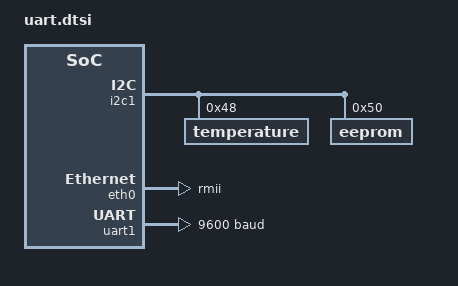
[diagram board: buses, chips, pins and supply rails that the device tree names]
/* CUSTOMER uart.dtsi */
&node1 { property1 = <1>; };
&node2 { property2 = <2>; };
&node3 { property3 = <3>; };
&node4 { property4 = <4>; };
&node5 { property5 = <5>; };
&node6 { property6 = <6>; };
&node7 { property7 = <7>; };
&node8 { property8 = <8>; };
&node9 { property9 = <9>; };
&node10 { property10 = <10>; };
&node11 { property11 = <11>; };
&node12 { property12 = <12>; };
&node13 { property13 = <13>; };
&node14 { property14 = <14>; };
&node15 { property15 = <15>; };
&node16 { property16 = <16>; };
&node17 { property17 = <17>; };
&node18 { property18 = <18>; };
&node19 { property19 = <19>; };
&node20 { property20 = <20>; };
&node21 { property21 = <21>; };
&node22 { property22 = <22>; };
&node23 { property23 = <23>; };
&node24 { property24 = <24>; };
&node25 { property25 = <25>; };
&node26 { property26 = <26>; };
&node27 { property27 = <27>; };
&node28 { property28 = <28>; };
&node29 { property29 = <29>; };
&node30 { property30 = <30>; };
&node31 { property31 = <31>; };
&node32 { property32 = <32>; };
&node33 { property33 = <33>; };
&node34 { property34 = <34>; };
&node35 { property35 = <35>; };
&node36 { property36 = <36>; };
&node37 { property37 = <37>; };
&node38 { property38 = <38>; };
&node39 { property39 = <39>; };
&node40 { property40 = <40>; };
&node41 { property41 = <41>; };
&node42 { property42 = <42>; };
&node43 { property43 = <43>; };
&node44 { property44 = <44>; };
&node45 { property45 = <45>; };
&node46 { property46 = <46>; };
&node47 { property47 = <47>; };
&node48 { property48 = <48>; };
&node49 { property49 = <49>; };
&node50 { property50 = <50>; };
&node51 { property51 = <51>; };
&node52 { property52 = <52>; };
&node53 { property53 = <53>; };
&node54 { property54 = <54>; };
&node55 { property55 = <55>; };
&node56 { property56 = <56>; };
&node57 { property57 = <57>; };
&node58 { property58 = <58>; };
&node59 { property59 = <59>; };
&node60 { property60 = <60>; };
&node61 { property61 = <61>; };
&node62 { property62 = <62>; };
&node63 { property63 = <63>; };
&node64 { property64 = <64>; };
&node65 { property65 = <65>; };
&node66 { property66 = <66>; };
&node67 { property67 = <67>; };
&node68 { property68 = <68>; };
&node69 { property69 = <69>; };
&node70 { property70 = <70>; };
&node71 { property71 = <71>; };
&node72 { property72 = <72>; };
&node73 { property73 = <73>; };
&node74 { property74 = <74>; };
&node75 { property75 = <75>; };
&node76 { property76 = <76>; };
&node77 { property77 = <77>; };
&node78 { property78 = <78>; };
&node79 { property79 = <79>; };
&node80 { property80 = <80>; };
&node81 { property81 = <81>; };
&node82 { property82 = <82>; };
&node83 { property83 = <83>; };
&node84 { property84 = <84>; };
&node85 { property85 = <85>; };
&node86 { property86 = <86>; };
&node87 { property87 = <87>; };
&node88 { property88 = <88>; };
&node89 { property89 = <89>; };
&node90 { property90 = <90>; };
&node91 { property91 = <91>; };
&node92 { property92 = <92>; };
&node93 { property93 = <93>; };
&node94 { property94 = <94>; };
&node95 { property95 = <95>; };
&node96 { property96 = <96>; };
&node97 { property97 = <97>; };
&node98 { property98 = <98>; };
&node99 { property99 = <99>; };
&node100 { property100 = <100>; };
// Customer customization
&i2c1 { temperature@48 { reg = <0x48>; }; };
&i2c1 { eeprom@50 { reg = <0x50>; }; };
&spi1 { status = "disabled"; };
&eth0 { phy-mode = "rmii"; };
&uart1 { current-speed = <9600>; };
&gpio1 { led0 { label = "status"; }; };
